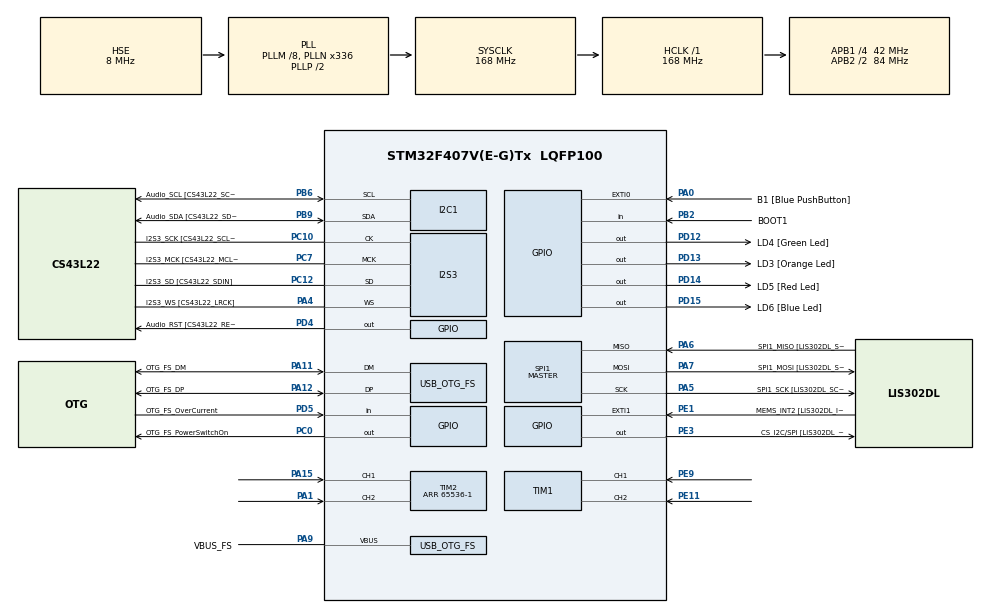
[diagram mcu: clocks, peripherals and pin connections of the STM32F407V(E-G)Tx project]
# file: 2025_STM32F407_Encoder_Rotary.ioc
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I2S3.AudioFreq-Half_Duplex_Master=I2S_AUDIOFREQ_96K
I2S3.ErrorAudioFreq=-2.34 %
I2S3.ErrorAudioFreq-Half_Duplex_Master=0.8 %
I2S3.FullDuplexMode=I2S_FULLDUPLEXMODE_DISABLE
I2S3.Instance=SPI$Index
I2S3.RealAudioFreq=93.75 KHz
I2S3.RealAudioFreq-Half_Duplex_Master=96.774 KHz
I2S3.VirtualMode=I2S_MODE_MASTER
Mcu.Family=STM32F4
Mcu.Name=STM32F407V(E-G)Tx
Mcu.Package=LQFP100
NVIC.OTG_FS_IRQn=true\:0\:0\:false\:false\:true\:true\:true\:true
NVIC.PriorityGroup=NVIC_PRIORITYGROUP_0
NVIC.TIM2_IRQn=true\:0\:0\:false\:false\:true\:true\:true\:true
PA0-WKUP.GPIO_Label=B1 [Blue PushButton]
PA0-WKUP.GPIO_ModeDefaultEXTI=GPIO_MODE_EVT_RISING
PA0-WKUP.GPIO_PuPd=GPIO_NOPULL
PA0-WKUP.Signal=GPXTI0
PA1.Signal=S_TIM2_CH2
PA10.GPIO_Label=OTG_FS_ID
PA10.GPIO_Mode=GPIO_MODE_AF_PP
PA10.GPIO_PuPd=GPIO_NOPULL
PA10.GPIO_Speed=GPIO_SPEED_FREQ_LOW
PA10.Signal=USB_OTG_FS_ID
PA11.GPIO_Label=OTG_FS_DM
PA11.GPIO_Mode=GPIO_MODE_AF_PP
PA11.GPIO_PuPd=GPIO_NOPULL
PA11.GPIO_Speed=GPIO_SPEED_FREQ_LOW
PA11.Mode=Host_Only
PA11.Signal=USB_OTG_FS_DM
PA12.GPIO_Label=OTG_FS_DP
PA12.GPIO_Mode=GPIO_MODE_AF_PP
PA12.GPIO_PuPd=GPIO_NOPULL
PA12.GPIO_Speed=GPIO_SPEED_FREQ_LOW
PA12.Mode=Host_Only
PA12.Signal=USB_OTG_FS_DP
PA13.GPIO_Label=SWDIO
PA13.Mode=Serial_Wire
PA13.Signal=SYS_JTMS-SWDIO
PA14.GPIO_Label=SWCLK
PA14.Mode=Serial_Wire
PA14.Signal=SYS_JTCK-SWCLK
PA15.Signal=S_TIM2_CH1_ETR
PA4.GPIO_Label=I2S3_WS [CS43L22_LRCK]
PA4.GPIO_Mode=GPIO_MODE_AF_PP
PA4.GPIO_PuPd=GPIO_NOPULL
PA4.GPIO_Speed=GPIO_SPEED_FREQ_LOW
PA4.Mode=Half_Duplex_Master
PA4.Signal=I2S3_WS
PA5.GPIO_Label=SPI1_SCK [LIS302DL_SCL/SPC]
PA5.GPIO_Mode=GPIO_MODE_AF_PP
PA5.GPIO_PuPd=GPIO_NOPULL
PA5.GPIO_Speed=GPIO_SPEED_FREQ_LOW
PA5.Mode=Full_Duplex_Master
PA5.Signal=SPI1_SCK
PA6.GPIO_Label=SPI1_MISO [LIS302DL_SDO]
PA6.GPIO_Mode=GPIO_MODE_AF_PP
PA6.GPIO_PuPd=GPIO_NOPULL
PA6.GPIO_Speed=GPIO_SPEED_FREQ_LOW
PA6.Mode=Full_Duplex_Master
PA6.Signal=SPI1_MISO
PA7.GPIO_Label=SPI1_MOSI [LIS302DL_SDA/SDI/SDO]
PA7.GPIO_Mode=GPIO_MODE_AF_PP
PA7.GPIO_PuPd=GPIO_NOPULL
PA7.GPIO_Speed=GPIO_SPEED_FREQ_LOW
PA7.Mode=Full_Duplex_Master
PA7.Signal=SPI1_MOSI
PA9.GPIO_Label=VBUS_FS
PA9.GPIO_Mode=GPIO_MODE_INPUT
PA9.GPIO_PuPd=GPIO_NOPULL
PA9.Mode=Activate_VBUS
PA9.Signal=USB_OTG_FS_VBUS
PB10.GPIO_Label=CLK_IN [MP45DT02_CLK]
PB10.GPIO_Mode=GPIO_MODE_AF_PP
PB10.GPIO_PuPd=GPIO_NOPULL
PB10.GPIO_Speed=GPIO_SPEED_FREQ_LOW
PB10.Signal=I2S2_CK
PB2.GPIO_Label=BOOT1
PB2.GPIO_Mode=GPIO_MODE_INPUT
PB2.GPIO_PuPd=GPIO_NOPULL
PB2.Signal=GPIO_Input
PB3.GPIO_Label=SWO
PB3.Signal=SYS_JTDO-SWO
PB6.GPIO_Label=Audio_SCL [CS43L22_SCL]
PB6.GPIO_Mode=GPIO_MODE_AF_OD
PB6.GPIO_Pu=GPIO_PULLUP
PB6.GPIO_PuPd=GPIO_NOPULL
PB6.GPIO_Speed=GPIO_SPEED_FREQ_LOW
PB6.Mode=I2C
PB6.Signal=I2C1_SCL
PB9.GPIO_Label=Audio_SDA [CS43L22_SDA]
PB9.GPIO_Mode=GPIO_MODE_AF_OD
PB9.GPIO_Pu=GPIO_PULLUP
PB9.GPIO_PuPd=GPIO_NOPULL
PB9.GPIO_Speed=GPIO_SPEED_FREQ_LOW
PB9.Mode=I2C
PB9.Signal=I2C1_SDA
PC0.GPIO_Label=OTG_FS_PowerSwitchOn
PC0.GPIO_PuPd=GPIO_NOPULL
PC0.GPIO_Speed=GPIO_SPEED_FREQ_LOW
PC0.PinState=GPIO_PIN_SET
PC0.Signal=GPIO_Output
PC10.GPIO_Label=I2S3_SCK [CS43L22_SCLK]
PC10.GPIO_Mode=GPIO_MODE_AF_PP
PC10.GPIO_PuPd=GPIO_NOPULL
PC10.GPIO_Speed=GPIO_SPEED_FREQ_LOW
PC10.Mode=Half_Duplex_Master
PC10.Signal=I2S3_CK
PC12.GPIO_Label=I2S3_SD [CS43L22_SDIN]
PC12.GPIO_Mode=GPIO_MODE_AF_PP
PC12.GPIO_PuPd=GPIO_NOPULL
PC12.GPIO_Speed=GPIO_SPEED_FREQ_LOW
PC12.Mode=Half_Duplex_Master
PC12.Signal=I2S3_SD
PC14-OSC32_IN.GPIO_Label=PC14-OSC32_IN
PC14-OSC32_IN.Mode=LSE-External-Oscillator
PC14-OSC32_IN.Signal=RCC_OSC32_IN
PC15-OSC32_OUT.GPIO_Label=PC15-OSC32_OUT
PC15-OSC32_OUT.Mode=LSE-External-Oscillator
PC15-OSC32_OUT.Signal=RCC_OSC32_OUT
PC3.GPIO_Label=PDM_OUT [MP45DT02_DOUT]
PC3.GPIO_Mode=GPIO_MODE_AF_PP
PC3.GPIO_PuPd=GPIO_NOPULL
PC3.GPIO_Speed=GPIO_SPEED_FREQ_LOW
PC3.Signal=I2S2_SD
PC7.GPIO_Label=I2S3_MCK [CS43L22_MCLK]
PC7.GPIO_Mode=GPIO_MODE_AF_PP
PC7.GPIO_PuPd=GPIO_NOPULL
PC7.GPIO_Speed=GPIO_SPEED_FREQ_LOW
PC7.Mode=Master_Clock_Activated
PC7.Signal=I2S3_MCK
PD12.GPIO_Label=LD4 [Green Led]
PD12.GPIO_PuPd=GPIO_NOPULL
PD12.GPIO_Speed=GPIO_SPEED_FREQ_LOW
PD12.Signal=GPIO_Output
PD13.GPIO_Label=LD3 [Orange Led]
PD13.GPIO_PuPd=GPIO_NOPULL
PD13.GPIO_Speed=GPIO_SPEED_FREQ_LOW
PD13.Signal=GPIO_Output
PD14.GPIO_Label=LD5 [Red Led]
PD14.GPIO_PuPd=GPIO_NOPULL
PD14.GPIO_Speed=GPIO_SPEED_FREQ_LOW
PD14.Signal=GPIO_Output
PD15.GPIO_Label=LD6 [Blue Led]
PD15.GPIO_PuPd=GPIO_NOPULL
PD15.GPIO_Speed=GPIO_SPEED_FREQ_LOW
PD15.Signal=GPIO_Output
PD4.GPIO_Label=Audio_RST [CS43L22_RESET]
PD4.GPIO_PuPd=GPIO_NOPULL
PD4.GPIO_Speed=GPIO_SPEED_FREQ_LOW
PD4.Signal=GPIO_Output
PD5.GPIO_Label=OTG_FS_OverCurrent
PD5.GPIO_Mode=GPIO_MODE_INPUT
PD5.GPIO_PuPd=GPIO_NOPULL
PD5.Signal=GPIO_Input
PE1.GPIO_Label=MEMS_INT2 [LIS302DL_INT2]
PE1.GPIO_ModeDefaultEXTI=GPIO_MODE_EVT_RISING
PE1.GPIO_PuPd=GPIO_NOPULL
PE1.Signal=GPXTI1
PE11.Signal=S_TIM1_CH2
PE3.GPIO_Label=CS_I2C/SPI [LIS302DL_CS_I2C/SPI]
PE3.GPIO_PuPd=GPIO_NOPULL
PE3.GPIO_Speed=GPIO_SPEED_FREQ_LOW
PE3.Signal=GPIO_Output
PE9.Signal=S_TIM1_CH1
PH0-OSC_IN.GPIO_Label=PH0-OSC_IN
PH0-OSC_IN.Mode=HSE-External-Oscillator
PH0-OSC_IN.Signal=RCC_OSC_IN
PH1-OSC_OUT.GPIO_Label=PH1-OSC_OUT
PH1-OSC_OUT.Mode=HSE-External-Oscillator
PH1-OSC_OUT.Signal=RCC_OSC_OUT
ProjectManager.HeapSize=0x200
ProjectManager.StackSize=0x400
ProjectManager.TargetToolchain=STM32CubeIDE
RCC.48MHZClocksFreq_Value=48000000
RCC.AHBFreq_Value=168000000
RCC.APB1CLKDivider=RCC_HCLK_DIV4
RCC.APB1Freq_Value=42000000
RCC.APB1TimFreq_Value=84000000
RCC.APB2CLKDivider=RCC_HCLK_DIV2
RCC.APB2Freq_Value=84000000
RCC.APB2TimFreq_Value=168000000
RCC.CortexFreq_Value=168000000
RCC.HCLKFreq_Value=168000000
RCC.HSE_VALUE=8000000
RCC.HSI_VALUE=16000000
RCC.PLLM=8
RCC.PLLN=336
RCC.PLLQ=7
RCC.SYSCLKFreq_VALUE=168000000
RCC.SYSCLKSource=RCC_SYSCLKSOURCE_PLLCLK
RCC.VCOOutputFreq_Value=336000000
SH.S_TIM1_CH1.0=TIM1_CH1,Encoder_Interface
SH.S_TIM1_CH2.0=TIM1_CH2,Encoder_Interface
SH.S_TIM2_CH1_ETR.0=TIM2_CH1,Encoder_Interface
SH.S_TIM2_CH2.0=TIM2_CH2,Encoder_Interface
SPI1.BaudRatePrescaler-Full_Duplex_Master=SPI_BAUDRATEPRESCALER_2
SPI1.CalculateBaudRate-Full_Duplex_Master=42.0 MBits/s
SPI1.Direction=SPI_DIRECTION_2LINES
SPI1.Mode=SPI_MODE_MASTER
SPI1.Mode-Full_Duplex_Master=SPI_MODE_MASTER
SPI1.VirtualType=VM_MASTER
TIM1.EncoderMode=TIM_ENCODERMODE_TI12
TIM1.IC1Polarity=TIM_ICPOLARITY_FALLING
TIM1.IC2Polarity=TIM_ICPOLARITY_FALLING
TIM2.EncoderMode=TIM_ENCODERMODE_TI12
TIM2.IC1Polarity=TIM_ICPOLARITY_FALLING
TIM2.IC2Polarity=TIM_ICPOLARITY_FALLING
TIM2.Period=65536-1
USB_HOST.BSP.number=1
USB_HOST.USBH_HandleTypeDef-CDC_FS=hUsbHostFS
USB_HOST.VirtualModeFS=Cdc
USB_HOST0.BSP.STBoard=false
USB_HOST0.BSP.api=Unknown
USB_HOST0.BSP.instance=PC0
USB_HOST0.BSP.ip=GPIO
USB_HOST0.BSP.mode=Output
USB_HOST0.BSP.name=Drive_VBUS_FS
USB_HOST0.BSP.solution=PC0
USB_OTG_FS.VirtualMode=Host_Only
USB_OTG_FS.phy_itface=HCD_PHY_EMBEDDED
VP_USB_HOST_VS_USB_HOST_CDC_FS.Mode=CDC_FS
board=STM32F407G-DISC1

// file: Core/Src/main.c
/* USER CODE BEGIN Header */
/**
  ******************************************************************************
  * @file           : main.c
  * @brief          : Main program body
  ******************************************************************************
  * @attention
  *
  * Copyright (c) 2025 STMicroelectronics.
  * All rights reserved.
  *
  * This software is licensed under terms that can be found in the LICENSE file
  * in the root directory of this software component.
  * If no LICENSE file comes with this software, it is provided AS-IS.
  *
  ******************************************************************************
  */
/* USER CODE END Header */
#include "main.h"
#include "usb_host.h"

I2C_HandleTypeDef hi2c1;

I2S_HandleTypeDef hi2s3;

SPI_HandleTypeDef hspi1;

TIM_HandleTypeDef htim1;
TIM_HandleTypeDef htim2;

/* USER CODE BEGIN PV */
volatile uint32_t gCounter = 0;
volatile int16_t gCount = 0;
volatile int16_t gPosition = 0; // Associated with TIM1
volatile uint32_t gCounter2 = 0;
volatile int16_t gCount2 = 0;   // Associated with TIM2
volatile int16_t gSpeed = 0;

/* USER CODE END PV */

void SystemClock_Config(void);
static void MX_GPIO_Init(void);
static void MX_I2C1_Init(void);
static void MX_I2S3_Init(void);
static void MX_SPI1_Init(void);
static void MX_TIM2_Init(void);
static void MX_TIM1_Init(void);
void MX_USB_HOST_Process(void);

int main(void)
{

  /* MCU Configuration--------------------------------------------------------*/

  /* Reset of all peripherals, Initializes the Flash interface and the Systick. */
  HAL_Init();

  /* Configure the system clock */
  SystemClock_Config();

  /* Initialize all configured peripherals */
  MX_GPIO_Init();
  MX_I2C1_Init();
  MX_I2S3_Init();
  MX_SPI1_Init();
  MX_USB_HOST_Init();
  MX_TIM2_Init();
  MX_TIM1_Init();
  /* USER CODE BEGIN 2 */
  HAL_TIM_Encoder_Start_IT(&htim1, TIM_CHANNEL_ALL); // Start TIM1 encoder with interrupt
  HAL_TIM_Encoder_Start_IT(&htim2, TIM_CHANNEL_ALL); // Start TIM2 encoder with interrupt
  /* USER CODE END 2 */

  /* Infinite loop */
  while (1)
  {
    MX_USB_HOST_Process();

  }
}

void SystemClock_Config(void)
{
  RCC_OscInitTypeDef RCC_OscInitStruct = {0};
  RCC_ClkInitTypeDef RCC_ClkInitStruct = {0};

  /** Configure the main internal regulator output voltage
  */
  __HAL_RCC_PWR_CLK_ENABLE();
  __HAL_PWR_VOLTAGESCALING_CONFIG(PWR_REGULATOR_VOLTAGE_SCALE1);

  /** Initializes the RCC Oscillators according to the specified parameters
  * in the RCC_OscInitTypeDef structure.
  */
  RCC_OscInitStruct.OscillatorType = RCC_OSCILLATORTYPE_HSE;
  RCC_OscInitStruct.HSEState = RCC_HSE_ON;
  RCC_OscInitStruct.PLL.PLLState = RCC_PLL_ON;
  RCC_OscInitStruct.PLL.PLLSource = RCC_PLLSOURCE_HSE;
  RCC_OscInitStruct.PLL.PLLM = 8;
  RCC_OscInitStruct.PLL.PLLN = 336;
  RCC_OscInitStruct.PLL.PLLP = RCC_PLLP_DIV2;
  RCC_OscInitStruct.PLL.PLLQ = 7;
  if (HAL_RCC_OscConfig(&RCC_OscInitStruct) != HAL_OK)
  {
    Error_Handler();
  }

  /** Initializes the CPU, AHB and APB buses clocks
  */
  RCC_ClkInitStruct.ClockType = RCC_CLOCKTYPE_HCLK|RCC_CLOCKTYPE_SYSCLK
                              |RCC_CLOCKTYPE_PCLK1|RCC_CLOCKTYPE_PCLK2;
  RCC_ClkInitStruct.SYSCLKSource = RCC_SYSCLKSOURCE_PLLCLK;
  RCC_ClkInitStruct.AHBCLKDivider = RCC_SYSCLK_DIV1;
  RCC_ClkInitStruct.APB1CLKDivider = RCC_HCLK_DIV4;
  RCC_ClkInitStruct.APB2CLKDivider = RCC_HCLK_DIV2;

  if (HAL_RCC_ClockConfig(&RCC_ClkInitStruct, FLASH_LATENCY_5) != HAL_OK)
  {
    Error_Handler();
  }
}

static void MX_I2C1_Init(void)
{

  hi2c1.Instance = I2C1;
  hi2c1.Init.ClockSpeed = 100000;
  hi2c1.Init.DutyCycle = I2C_DUTYCYCLE_2;
  hi2c1.Init.OwnAddress1 = 0;
  hi2c1.Init.AddressingMode = I2C_ADDRESSINGMODE_7BIT;
  hi2c1.Init.DualAddressMode = I2C_DUALADDRESS_DISABLE;
  hi2c1.Init.OwnAddress2 = 0;
  hi2c1.Init.GeneralCallMode = I2C_GENERALCALL_DISABLE;
  hi2c1.Init.NoStretchMode = I2C_NOSTRETCH_DISABLE;
  if (HAL_I2C_Init(&hi2c1) != HAL_OK)
  {
    Error_Handler();
  }

}

static void MX_I2S3_Init(void)
{

  hi2s3.Instance = SPI3;
  hi2s3.Init.Mode = I2S_MODE_MASTER_TX;
  hi2s3.Init.Standard = I2S_STANDARD_PHILIPS;
  hi2s3.Init.DataFormat = I2S_DATAFORMAT_16B;
  hi2s3.Init.MCLKOutput = I2S_MCLKOUTPUT_ENABLE;
  hi2s3.Init.AudioFreq = I2S_AUDIOFREQ_96K;
  hi2s3.Init.CPOL = I2S_CPOL_LOW;
  hi2s3.Init.ClockSource = I2S_CLOCK_PLL;
  hi2s3.Init.FullDuplexMode = I2S_FULLDUPLEXMODE_DISABLE;
  if (HAL_I2S_Init(&hi2s3) != HAL_OK)
  {
    Error_Handler();
  }

}

static void MX_SPI1_Init(void)
{

  /* SPI1 parameter configuration*/
  hspi1.Instance = SPI1;
  hspi1.Init.Mode = SPI_MODE_MASTER;
  hspi1.Init.Direction = SPI_DIRECTION_2LINES;
  hspi1.Init.DataSize = SPI_DATASIZE_8BIT;
  hspi1.Init.CLKPolarity = SPI_POLARITY_LOW;
  hspi1.Init.CLKPhase = SPI_PHASE_1EDGE;
  hspi1.Init.NSS = SPI_NSS_SOFT;
  hspi1.Init.BaudRatePrescaler = SPI_BAUDRATEPRESCALER_2;
  hspi1.Init.FirstBit = SPI_FIRSTBIT_MSB;
  hspi1.Init.TIMode = SPI_TIMODE_DISABLE;
  hspi1.Init.CRCCalculation = SPI_CRCCALCULATION_DISABLE;
  hspi1.Init.CRCPolynomial = 10;
  if (HAL_SPI_Init(&hspi1) != HAL_OK)
  {
    Error_Handler();
  }

}

static void MX_TIM1_Init(void)
{

  TIM_Encoder_InitTypeDef sConfig = {0};
  TIM_MasterConfigTypeDef sMasterConfig = {0};

  htim1.Instance = TIM1;
  htim1.Init.Prescaler = 0;
  htim1.Init.CounterMode = TIM_COUNTERMODE_UP;
  htim1.Init.Period = 65535;
  htim1.Init.ClockDivision = TIM_CLOCKDIVISION_DIV1;
  htim1.Init.RepetitionCounter = 0;
  htim1.Init.AutoReloadPreload = TIM_AUTORELOAD_PRELOAD_DISABLE;
  sConfig.EncoderMode = TIM_ENCODERMODE_TI12;
  sConfig.IC1Polarity = TIM_ICPOLARITY_FALLING;
  sConfig.IC1Selection = TIM_ICSELECTION_DIRECTTI;
  sConfig.IC1Prescaler = TIM_ICPSC_DIV1;
  sConfig.IC1Filter = 0;
  sConfig.IC2Polarity = TIM_ICPOLARITY_FALLING;
  sConfig.IC2Selection = TIM_ICSELECTION_DIRECTTI;
  sConfig.IC2Prescaler = TIM_ICPSC_DIV1;
  sConfig.IC2Filter = 0;
  if (HAL_TIM_Encoder_Init(&htim1, &sConfig) != HAL_OK)
  {
    Error_Handler();
  }
  sMasterConfig.MasterOutputTrigger = TIM_TRGO_RESET;
  sMasterConfig.MasterSlaveMode = TIM_MASTERSLAVEMODE_DISABLE;
  if (HAL_TIMEx_MasterConfigSynchronization(&htim1, &sMasterConfig) != HAL_OK)
  {
    Error_Handler();
  }

}

static void MX_TIM2_Init(void)
{

  TIM_Encoder_InitTypeDef sConfig = {0};
  TIM_MasterConfigTypeDef sMasterConfig = {0};

  htim2.Instance = TIM2;
  htim2.Init.Prescaler = 0;
  htim2.Init.CounterMode = TIM_COUNTERMODE_UP;
  htim2.Init.Period = 65536-1;
  htim2.Init.ClockDivision = TIM_CLOCKDIVISION_DIV1;
  htim2.Init.AutoReloadPreload = TIM_AUTORELOAD_PRELOAD_DISABLE;
  sConfig.EncoderMode = TIM_ENCODERMODE_TI12;
  sConfig.IC1Polarity = TIM_ICPOLARITY_FALLING;
  sConfig.IC1Selection = TIM_ICSELECTION_DIRECTTI;
  sConfig.IC1Prescaler = TIM_ICPSC_DIV1;
  sConfig.IC1Filter = 0;
  sConfig.IC2Polarity = TIM_ICPOLARITY_FALLING;
  sConfig.IC2Selection = TIM_ICSELECTION_DIRECTTI;
  sConfig.IC2Prescaler = TIM_ICPSC_DIV1;
  sConfig.IC2Filter = 0;
  if (HAL_TIM_Encoder_Init(&htim2, &sConfig) != HAL_OK)
  {
    Error_Handler();
  }
  sMasterConfig.MasterOutputTrigger = TIM_TRGO_RESET;
  sMasterConfig.MasterSlaveMode = TIM_MASTERSLAVEMODE_DISABLE;
  if (HAL_TIMEx_MasterConfigSynchronization(&htim2, &sMasterConfig) != HAL_OK)
  {
    Error_Handler();
  }

}

static void MX_GPIO_Init(void)
{
  GPIO_InitTypeDef GPIO_InitStruct = {0};

  /* GPIO Ports Clock Enable */
  __HAL_RCC_GPIOE_CLK_ENABLE();
  __HAL_RCC_GPIOC_CLK_ENABLE();
  __HAL_RCC_GPIOH_CLK_ENABLE();
  __HAL_RCC_GPIOA_CLK_ENABLE();
  __HAL_RCC_GPIOB_CLK_ENABLE();
  __HAL_RCC_GPIOD_CLK_ENABLE();

  /*Configure GPIO pin Output Level */
  HAL_GPIO_WritePin(CS_I2C_SPI_GPIO_Port, CS_I2C_SPI_Pin, GPIO_PIN_RESET);

  /*Configure GPIO pin Output Level */
  HAL_GPIO_WritePin(OTG_FS_PowerSwitchOn_GPIO_Port, OTG_FS_PowerSwitchOn_Pin, GPIO_PIN_SET);

  /*Configure GPIO pin Output Level */
  HAL_GPIO_WritePin(GPIOD, LD4_Pin|LD3_Pin|LD5_Pin|LD6_Pin
                          |Audio_RST_Pin, GPIO_PIN_RESET);

  /*Configure GPIO pin : CS_I2C_SPI_Pin */
  GPIO_InitStruct.Pin = CS_I2C_SPI_Pin;
  GPIO_InitStruct.Mode = GPIO_MODE_OUTPUT_PP;
  GPIO_InitStruct.Pull = GPIO_NOPULL;
  GPIO_InitStruct.Speed = GPIO_SPEED_FREQ_LOW;
  HAL_GPIO_Init(CS_I2C_SPI_GPIO_Port, &GPIO_InitStruct);

  /*Configure GPIO pin : OTG_FS_PowerSwitchOn_Pin */
  GPIO_InitStruct.Pin = OTG_FS_PowerSwitchOn_Pin;
  GPIO_InitStruct.Mode = GPIO_MODE_OUTPUT_PP;
  GPIO_InitStruct.Pull = GPIO_NOPULL;
  GPIO_InitStruct.Speed = GPIO_SPEED_FREQ_LOW;
  HAL_GPIO_Init(OTG_FS_PowerSwitchOn_GPIO_Port, &GPIO_InitStruct);

  /*Configure GPIO pin : PDM_OUT_Pin */
  GPIO_InitStruct.Pin = PDM_OUT_Pin;
  GPIO_InitStruct.Mode = GPIO_MODE_AF_PP;
  GPIO_InitStruct.Pull = GPIO_NOPULL;
  GPIO_InitStruct.Speed = GPIO_SPEED_FREQ_LOW;
  GPIO_InitStruct.Alternate = GPIO_AF5_SPI2;
  HAL_GPIO_Init(PDM_OUT_GPIO_Port, &GPIO_InitStruct);

  /*Configure GPIO pin : B1_Pin */
  GPIO_InitStruct.Pin = B1_Pin;
  GPIO_InitStruct.Mode = GPIO_MODE_EVT_RISING;
  GPIO_InitStruct.Pull = GPIO_NOPULL;
  HAL_GPIO_Init(B1_GPIO_Port, &GPIO_InitStruct);

  /*Configure GPIO pin : BOOT1_Pin */
  GPIO_InitStruct.Pin = BOOT1_Pin;
  GPIO_InitStruct.Mode = GPIO_MODE_INPUT;
  GPIO_InitStruct.Pull = GPIO_NOPULL;
  HAL_GPIO_Init(BOOT1_GPIO_Port, &GPIO_InitStruct);

  /*Configure GPIO pin : CLK_IN_Pin */
  GPIO_InitStruct.Pin = CLK_IN_Pin;
  GPIO_InitStruct.Mode = GPIO_MODE_AF_PP;
  GPIO_InitStruct.Pull = GPIO_NOPULL;
  GPIO_InitStruct.Speed = GPIO_SPEED_FREQ_LOW;
  GPIO_InitStruct.Alternate = GPIO_AF5_SPI2;
  HAL_GPIO_Init(CLK_IN_GPIO_Port, &GPIO_InitStruct);

  /*Configure GPIO pins : LD4_Pin LD3_Pin LD5_Pin LD6_Pin
                           Audio_RST_Pin */
  GPIO_InitStruct.Pin = LD4_Pin|LD3_Pin|LD5_Pin|LD6_Pin
                          |Audio_RST_Pin;
  GPIO_InitStruct.Mode = GPIO_MODE_OUTPUT_PP;
  GPIO_InitStruct.Pull = GPIO_NOPULL;
  GPIO_InitStruct.Speed = GPIO_SPEED_FREQ_LOW;
  HAL_GPIO_Init(GPIOD, &GPIO_InitStruct);

  /*Configure GPIO pin : OTG_FS_OverCurrent_Pin */
  GPIO_InitStruct.Pin = OTG_FS_OverCurrent_Pin;
  GPIO_InitStruct.Mode = GPIO_MODE_INPUT;
  GPIO_InitStruct.Pull = GPIO_NOPULL;
  HAL_GPIO_Init(OTG_FS_OverCurrent_GPIO_Port, &GPIO_InitStruct);

  /*Configure GPIO pin : MEMS_INT2_Pin */
  GPIO_InitStruct.Pin = MEMS_INT2_Pin;
  GPIO_InitStruct.Mode = GPIO_MODE_EVT_RISING;
  GPIO_InitStruct.Pull = GPIO_NOPULL;
  HAL_GPIO_Init(MEMS_INT2_GPIO_Port, &GPIO_InitStruct);

}

/* USER CODE BEGIN 4 */
void HAL_TIM_IC_CaptureCallback(TIM_HandleTypeDef *htim)
{
  if (htim->Instance == TIM1) // Check if the interrupt is from TIM1
  {
    // Get counter value from encoder 1 (TIM1)
    gCounter = __HAL_TIM_GET_COUNTER(htim); // Use htim, which is a pointer to the TIM_HandleTypeDef

    // Convert counter to positive and negative values
    gCount = (int16_t)gCounter;

    // Correct pulses for encoder 1
    gPosition = gCount / 4;
  }
  else if (htim->Instance == TIM2) // Check if the interrupt is from TIM2
  {
    // Get counter value from encoder 2 (TIM2)
    gCounter2 = __HAL_TIM_GET_COUNTER(htim); // Use htim

    // Convert counter to positive and negative values
    gCount2 = (int16_t)gCounter2;

    // If encoder 2 also needs a gPosition variable (e.g. gPosition2),
    // it should be declared and updated here, for example:
    // gPosition2 = gCount2 / 4;
    // For now, only gPosition related to TIM1 is updated as per original code structure.
  }
}
/* USER CODE END 4 */

void Error_Handler(void)
{
  __disable_irq();
  while (1)
  {
  }
}
